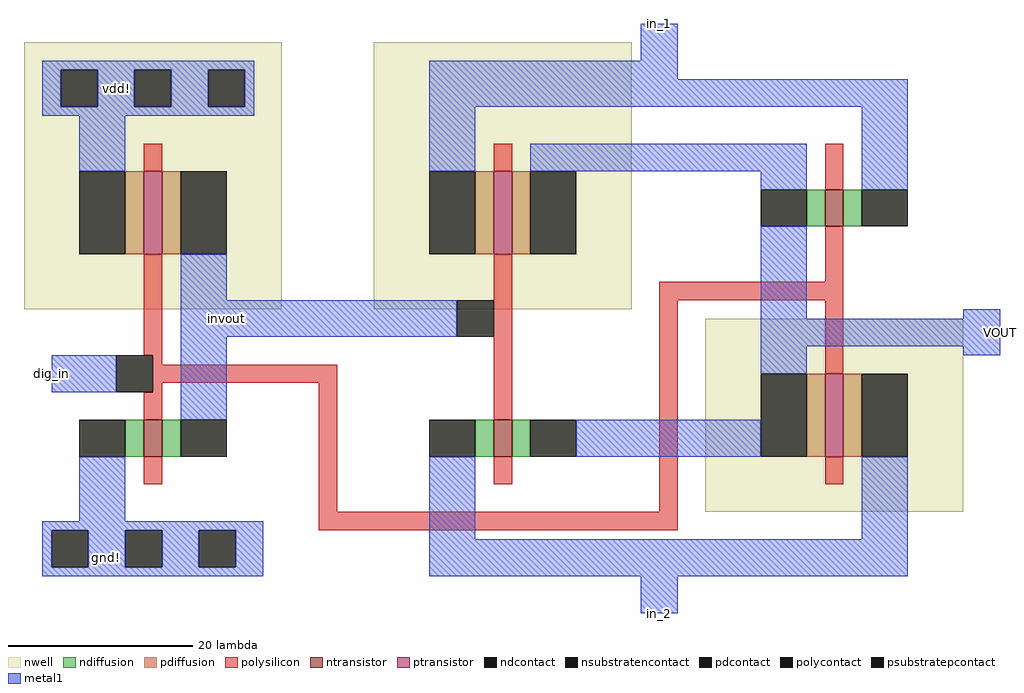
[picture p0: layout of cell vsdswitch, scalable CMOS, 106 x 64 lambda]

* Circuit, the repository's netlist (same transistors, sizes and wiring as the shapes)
* SPICE3 file created from vsdswitch.ext - technology: scmos

.option scale=0.1u

M1000 VOUT invout in_2 gnd nfet w=4 l=2
+  ad=56 pd=44 as=28 ps=22
M1001 in_1 dig_in VOUT gnd nfet w=4 l=2
+  ad=28 pd=22 as=0 ps=0
M1002 in_2 dig_in VOUT w_57_n21# pfet w=9 l=2
+  ad=63 pd=32 as=126 ps=64
M1003 invout dig_in vdd vdd pfet w=9 l=2
+  ad=63 pd=32 as=63 ps=32
M1004 invout dig_in gnd gnd nfet w=4 l=2
+  ad=28 pd=22 as=28 ps=22
M1005 VOUT invout in_1 w_21_1# pfet w=9 l=2
+  ad=0 pd=0 as=63 ps=32

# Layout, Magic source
magic
tech scmos
<< nwell >>
rect -17 1 11 30
rect 21 1 49 30
rect 57 -21 85 0
<< ntransistor >>
rect 70 10 72 14
rect -4 -15 -2 -11
rect 34 -15 36 -11
<< ptransistor >>
rect -4 7 -2 16
rect 34 7 36 16
rect 70 -15 72 -6
<< ndiffusion >>
rect 68 10 70 14
rect 72 10 74 14
rect -6 -15 -4 -11
rect -2 -15 0 -11
rect 32 -15 34 -11
rect 36 -15 38 -11
<< pdiffusion >>
rect -6 7 -4 16
rect -2 7 0 16
rect 32 7 34 16
rect 36 7 38 16
rect 68 -15 70 -6
rect 72 -15 74 -6
<< ndcontact >>
rect 63 10 68 14
rect 74 10 79 14
rect -11 -15 -6 -11
rect 0 -15 5 -11
rect 27 -15 32 -11
rect 38 -15 43 -11
<< pdcontact >>
rect -11 7 -6 16
rect 0 7 5 16
rect 27 7 32 16
rect 38 7 43 16
rect 63 -15 68 -6
rect 74 -15 79 -6
<< psubstratepcontact >>
rect -14 -27 -10 -23
rect -6 -27 -2 -23
rect 2 -27 6 -23
<< nsubstratencontact >>
rect -13 23 -9 27
rect -5 23 -1 27
rect 3 23 7 27
<< polysilicon >>
rect -4 16 -2 19
rect 34 16 36 19
rect 70 14 72 19
rect -4 -4 -2 7
rect -3 -5 -2 -4
rect -3 -7 17 -5
rect -3 -8 -2 -7
rect -4 -11 -2 -8
rect -4 -18 -2 -15
rect 15 -21 17 -7
rect 34 -11 36 7
rect 70 4 72 10
rect 52 2 72 4
rect 34 -18 36 -15
rect 52 -21 54 2
rect 70 -6 72 2
rect 70 -18 72 -15
rect 15 -23 54 -21
<< polycontact >>
rect 30 -2 34 2
rect -7 -8 -3 -4
<< metal1 >>
rect 50 28 54 32
rect -15 27 8 28
rect -15 23 -13 27
rect -9 23 -5 27
rect -1 23 3 27
rect 7 23 8 27
rect -15 22 8 23
rect 27 26 54 28
rect 27 23 79 26
rect -11 16 -6 22
rect 27 16 32 23
rect 38 16 68 19
rect 63 14 68 16
rect 74 14 79 23
rect 0 2 5 7
rect 0 -2 30 2
rect 63 0 68 10
rect 85 0 89 1
rect -14 -8 -7 -4
rect 0 -11 5 -2
rect 63 -3 89 0
rect 63 -6 68 -3
rect 85 -4 89 -3
rect 43 -15 63 -11
rect -11 -22 -6 -15
rect -15 -23 9 -22
rect -15 -27 -14 -23
rect -10 -27 -6 -23
rect -2 -27 2 -23
rect 6 -27 9 -23
rect -15 -28 9 -27
rect 27 -24 32 -15
rect 74 -24 79 -15
rect 27 -28 79 -24
rect 50 -32 54 -28
<< labels >>
rlabel metal1 -7 25 -7 25 5 vdd!
rlabel metal1 -8 -26 -8 -26 1 gnd!
rlabel metal1 50 -32 54 -32 1 in_2
rlabel metal1 89 -4 89 1 7 VOUT
rlabel metal1 50 32 54 32 5 in_1
rlabel metal1 5 -2 5 2 1 invout
rlabel metal1 -14 -8 -14 -4 3 dig_in
<< end >>
